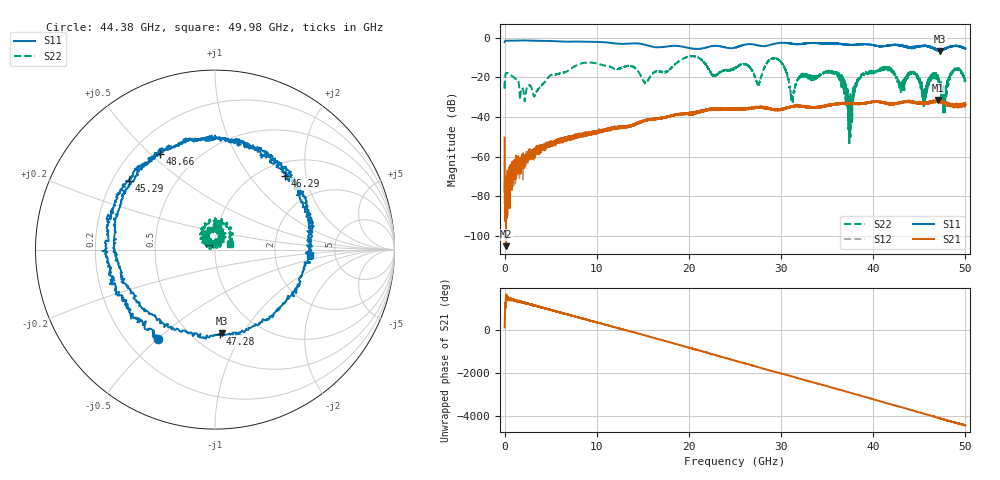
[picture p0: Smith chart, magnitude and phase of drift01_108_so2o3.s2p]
!Created with skrf (http://scikit-rf.org).
# Hz S RI R 50.0
!freq ReS11 ImS11 ReS21 ImS21 ReS12 ImS12 ReS22 ImS22
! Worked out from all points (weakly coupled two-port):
!   10001 points, 300 kHz to 50 GHz, reference 50 ohm
!   highest |S21| = -31.37 dB at 47.03 GHz (marker M1); lowest = -105.1 dB at 155.3 MHz (marker M2)
!   lowest |S11| = -6.6 dB at 47.26 GHz (marker M3), VSWR 2.76, Z = 34.3 - j40.8 ohm
!   |S11| at or under -10 dB: nowhere
!   |S22| runs from -54.3 to -9.2 dB; largest |S21 - S12| = 0.0039
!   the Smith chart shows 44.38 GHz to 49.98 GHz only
!   S11 on the Smith chart (normalised r, x): 44.38 GHz: 0.33, -0.50; 45.29 GHz: 0.27, +0.33; 46.29 GHz: 1.25, +1.52; 47.28 GHz: 0.67, -0.80; 48.66 GHz: 0.31, +0.53; 49.98 GHz: 3.21, -0.26
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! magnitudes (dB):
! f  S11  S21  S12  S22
! 300 kHz  -2.1  -50.4  -61.8  -22.1
! 155.3 MHz  -1.5  -105.1  -72.1  -17.8
! 3.29 GHz  -1.5  -57.2  -57.4  -28.9
! 8.335 GHz  -1.9  -49.1  -48.8  -12.9
! 16.67 GHz  -4.8  -40.7  -40.8  -16.7
! 25 GHz  -5.0  -36.2  -35.9  -15.5
! 29.59 GHz  -2.7  -36.3  -36.3  -10.6
! 31.24 GHz  -3.0  -34.8  -34.5  -32.0
! 33.34 GHz  -2.6  -35.0  -35.1  -20.2
! 36.08 GHz  -3.1  -33.4  -33.5  -18.3
! 37.47 GHz  -3.6  -33.2  -33.0  -36.7
! 38.65 GHz  -3.3  -33.2  -33.2  -19.9
! 41.67 GHz  -3.9  -33.2  -33.4  -15.9
! 44.38 GHz  -4.6  -32.7  -32.5  -17.4
! 45.29 GHz  -4.2  -32.7  -32.9  -26.6
! 46.29 GHz  -4.9  -32.1  -32.5  -21.0
! 47.03 GHz  -6.3  -31.4  -32.3  -21.1
! 47.26 GHz  -6.6  -31.7  -32.3  -24.1
! 47.28 GHz  -6.6  -32.0  -32.1  -23.3
! 48.66 GHz  -4.2  -34.8  -33.8  -16.6
! 49.98 GHz  -5.6  -33.2  -33.1  -21.3
! 50 GHz  -5.4  -33.8  -33.6  -21.4
